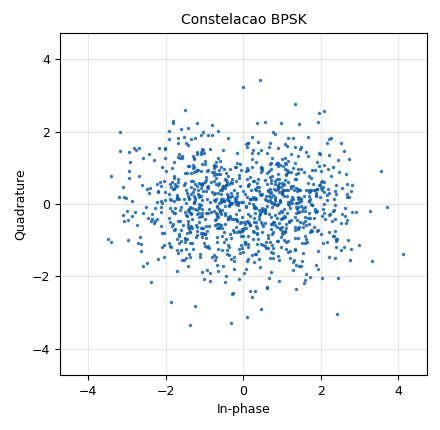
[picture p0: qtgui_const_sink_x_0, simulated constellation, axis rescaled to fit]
options:
  parameters:
    author: labsdr
    generate_options: qt_gui
    id: top_block
    output_language: python
    title: BPSK
  states: {}

blocks:
- name: EbN0
  id: variable_qtgui_range
  parameters:
    label: E b /N 0
    start: '-15'
    step: '1'
    stop: '15'
    value: '-3'
  states: {}
- name: const_0
  id: variable
  parameters:
    value: (digital.constellation_bpsk())
  states: {}
- name: samp_rate
  id: variable
  parameters:
    value: '32000'
  states: {}
- name: analog_noise_source_x_0
  id: analog_noise_source_x
  parameters:
    amp: 1.0 / math.sqrt(10**(float(EbN0)/10))
    noise_type: analog.GR_GAUSSIAN
    seed: '0'
    type: complex
  states: {}
- name: analog_random_source_x_0
  id: analog_random_source_x
  parameters:
    max: '2'
    min: '0'
    num_samps: '100000'
    repeat: 'True'
    type: byte
  states: {}
- name: blocks_add_xx_0
  id: blocks_add_xx
  parameters:
    type: complex
  states: {}
- name: blocks_complex_to_real_0
  id: blocks_complex_to_real
  parameters: {}
  states: {}
- name: blocks_throttle_0
  id: blocks_throttle
  parameters:
    samples_per_second: samp_rate
    type: byte
  states: {}
- name: blocks_throttle_1
  id: blocks_throttle
  parameters:
    samples_per_second: samp_rate
    type: byte
  states: {}
- name: digital_binary_slicer_fb_0
  id: digital_binary_slicer_fb
  parameters: {}
  states: {}
- name: digital_chunks_to_symbols_xx_0
  id: digital_chunks_to_symbols_xx
  parameters:
    dimension: '1'
    in_type: byte
    out_type: complex
    symbol_table: const_0.points()
  states: {}
- name: fec_ber_bf_0
  id: fec_ber_bf
  parameters:
    test_mode: 'False'
  states: {}
- name: import_0
  id: import
  parameters:
    imports: import math
  states: {}
- name: qtgui_const_sink_x_0
  id: qtgui_const_sink_x
  parameters:
    gui_hint: 0,1,1,1
    name: '"Constelacao BPSK"'
    size: '1024'
    type: complex
    ymax: '1'
    ymin: '-1'
  states: {}
- name: qtgui_number_sink_0
  id: qtgui_number_sink
  parameters:
    graph_type: qtgui.NUM_GRAPH_HORIZ
    max: '100'
    min: '-100'
    name: '"BER"'
    type: float
  states: {}

connections:
- [analog_noise_source_x_0, '0', blocks_add_xx_0, '0']
- [analog_random_source_x_0, '0', blocks_throttle_0, '0']
- [analog_random_source_x_0, '0', digital_chunks_to_symbols_xx_0, '0']
- [blocks_add_xx_0, '0', blocks_complex_to_real_0, '0']
- [blocks_add_xx_0, '0', qtgui_const_sink_x_0, '0']
- [blocks_complex_to_real_0, '0', digital_binary_slicer_fb_0, '0']
- [blocks_throttle_0, '0', fec_ber_bf_0, '0']
- [blocks_throttle_1, '0', fec_ber_bf_0, '1']
- [digital_binary_slicer_fb_0, '0', blocks_throttle_1, '0']
- [digital_chunks_to_symbols_xx_0, '0', blocks_add_xx_0, '1']
- [fec_ber_bf_0, '0', qtgui_number_sink_0, '0']

metadata:
  file_format: 1
